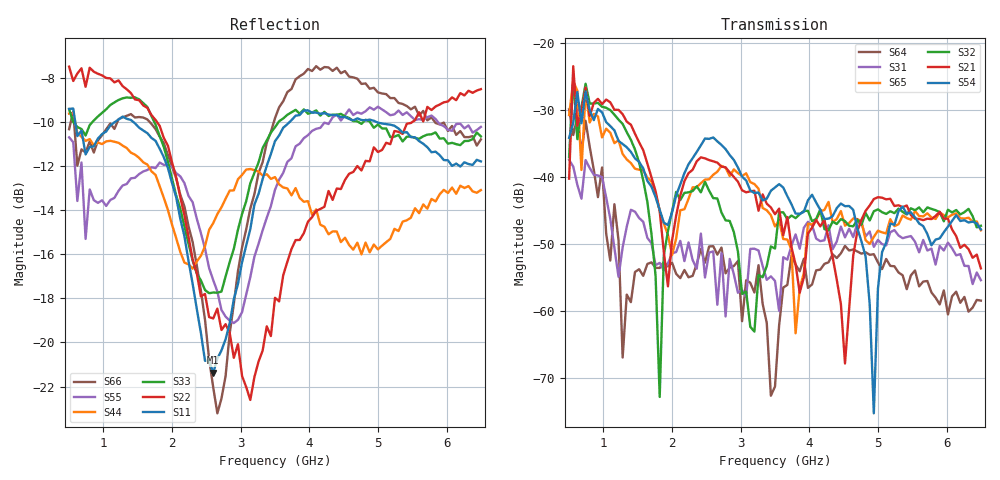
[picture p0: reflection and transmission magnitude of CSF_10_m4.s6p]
!Keysight Technologies,M9804A,MY58100912,A.14.10.03
!Date: Thursday, April 27, 2023 10:28:33
!Correction: S11(C  6-Port  )
!S12(C  6-Port  )
!S13(C  6-Port  )
!S14(C  6-Port  )
!S15(C  6-Port  )
!S16(C  6-Port  )
!S21(C  6-Port  )
!S22(C  6-Port  )
!S23(C  6-Port  )
!S24(C  6-Port  )
!S25(C  6-Port  )
!S26(C  6-Port  )
!S31(C  6-Port  )
!S32(C  6-Port  )
!S33(C  6-Port  )
!S34(C  6-Port  )
!S35(C  6-Port  )
!S36(C  6-Port  )
!S41(C  6-Port  )
!S42(C  6-Port  )
!S43(C  6-Port  )
!S44(C  6-Port  )
!S45(C  6-Port  )
!S46(C  6-Port  )
!S51(C  6-Port  )
!S52(C  6-Port  )
!S53(C  6-Port  )
!S54(C  6-Port  )
!S55(C  6-Port  )
!S56(C  6-Port  )
!S61(C  6-Port  )
!S62(C  6-Port  )
!S63(C  6-Port  )
!S64(C  6-Port  )
!S65(C  6-Port  )
!S66(C  6-Port  )
!S6P File: Measurement: :
# Hz S  RI  R 50
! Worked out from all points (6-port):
!   101 points, 500 MHz to 6.5 GHz, reference 50 ohm
!   strongest paths, dB at 500 MHz, 2 GHz, 3.5 GHz, 5 GHz, 6.5 GHz:
!     S54: -34.1, -45.2, -41.5, -56.6, -47.8
!     S21: -40.2, -49.4, -45.5, -43.0, -53.6
!     S32: -37.0, -45.1, -50.6, -44.8, -47.2
!     S65: -30.7, -51.6, -47.3, -48.0, -47.9
!     S31: -37.4, -51.3, -55.4, -49.3, -55.3
!     S64: -29.8, -52.7, -71.2, -52.7, -58.4
!   lowest |S11| = -21.4 dB at 2.6 GHz (marker M1), VSWR 1.19, Z = 42.4 + j2.24 ohm
!   |S11| at or under -10 dB: 589 MHz to 1.169 GHz (580.1 MHz wide, 66 % of centre); 1.434 GHz to 3.715 GHz (2.281 GHz wide, 88.6 % of centre); 4.976 GHz to end of sweep
